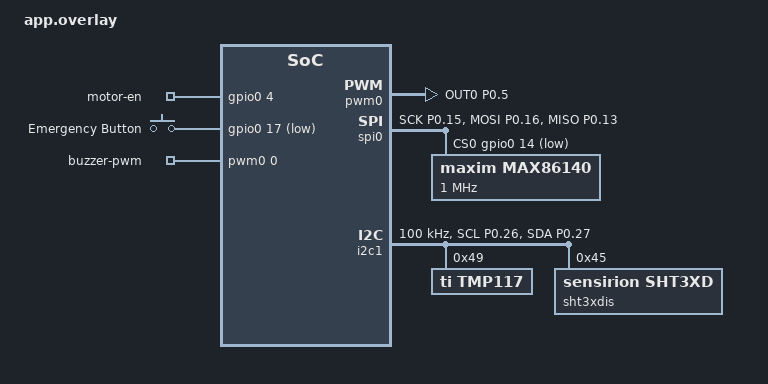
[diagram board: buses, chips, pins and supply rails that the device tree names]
#include <zephyr/dt-bindings/gpio/gpio.h>
#include <zephyr/dt-bindings/pinctrl/nrf-pinctrl.h>
#include <zephyr/dt-bindings/spi/spi.h>

/ {
	chosen {
		zephyr,console = &rtt0;
		zephyr,shell-uart = &rtt0;
		zephyr,bt-mon-uart = &rtt0;
		zephyr,bt-c2h-uart = &rtt0;
		/delete-property/ zephyr,uart-mcumgr;
	};

	rtt0: rtt_chan0 {
		compatible = "segger,rtt-uart";
		status = "okay";
	};

	aliases {
		emergency-button = &emergency_button;
		buzzer = &pwm_buzzer_led;
		motor-en = &motor_en_line;
	};

	motor_gpios {
		compatible = "gpio-leds";
		motor_en_line: motor_en_line {
			gpios = <&gpio0 4 GPIO_ACTIVE_HIGH>;
			label = "motor-en";
		};
	};

	buttons {
		compatible = "gpio-keys";
		emergency_button: emergency_button {
			gpios = <&gpio0 17 (GPIO_PULL_UP | GPIO_ACTIVE_LOW)>;
			label = "Emergency Button";
		};
	};

	pwm_buzzer_group {
		compatible = "pwm-leds";
		pwm_buzzer_led: pwm_buzzer_led {
			pwms = <&pwm0 0 250000 PWM_POLARITY_NORMAL>;
			label = "buzzer-pwm";
		};
	};
};

&uart0 { status = "disabled"; };
&i2c0 { status = "disabled"; };

&pinctrl {
	spi0_max86140_vb: spi0_max86140_vb {
		group1 { psels = <NRF_PSEL(SPIM_SCK, 0, 15)>, <NRF_PSEL(SPIM_MOSI, 0, 16)>; nordic,drive-mode = <NRF_DRIVE_H0H1>; };
		group2 { psels = <NRF_PSEL(SPIM_MISO, 0, 13)>; };
	};
	i2c1_tmp117_vb: i2c1_tmp117_vb {
		group1 { psels = <NRF_PSEL(TWIM_SCL, 0, 26)>, <NRF_PSEL(TWIM_SDA, 0, 27)>; bias-pull-up; };
	};
	pwm0_buzzer_vb: pwm0_buzzer_vb {
		group1 { psels = <NRF_PSEL(PWM_OUT0, 0, 5)>; nordic,drive-mode = <NRF_DRIVE_H0H1>; };
	};
};

&pwm0 {
	status = "okay";
	pinctrl-0 = <&pwm0_buzzer_vb>;
	pinctrl-names = "default";
};

&spi0 {
	compatible = "nordic,nrf-spim";
	status = "okay";
	pinctrl-0 = <&spi0_max86140_vb>;
	pinctrl-names = "default";
	cs-gpios = <&gpio0 14 GPIO_ACTIVE_LOW>;
	max86140: maxim_max86140@0 {
		compatible = "maxim,max86140";
		reg = <0>;
		spi-max-frequency = <1000000>;
	};
};

&i2c1 {
	status = "okay";
	compatible = "nordic,nrf-twim";
	pinctrl-0 = <&i2c1_tmp117_vb>;
	pinctrl-names = "default";
	clock-frequency = <100000>;
	tmp117: tmp117@49 { compatible = "ti,tmp117"; reg = <0x49>; };
	sht3xdis: sht3xdis@45 { compatible = "sensirion,sht3xd"; reg = <0x45>; status = "okay"; };
};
